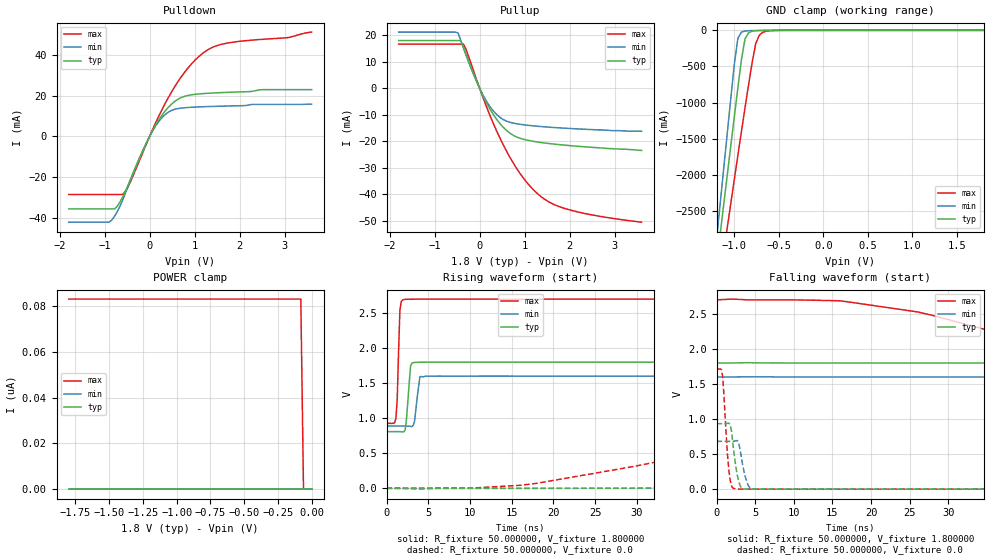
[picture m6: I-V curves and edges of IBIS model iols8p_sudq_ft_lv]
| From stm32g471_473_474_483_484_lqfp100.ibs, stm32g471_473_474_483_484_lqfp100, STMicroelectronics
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|   Model iols8p_sudq_ft_lv
[Model]  iols8p_sudq_ft_lv
Model_type I/O
Polarity   Non-Inverting
Enable   Active-Low
Vinl =   0.540000V
Vinh =   1.260000V
Vmeas =  0.900000V
Cref =   50.000000pF
Rref =   100.000000M
Vref =   0.0V
C_comp   1.984800pF   1.899400pF   2.077500pF
[Temperature Range]   25.000000   -40.000000   0.125000k
[Pullup Reference]   1.800000V   1.600000V   2.700000V
[Pulldown Reference]   0.0V   0.0V   0.0V
[POWER Clamp Reference]   1.800000V   1.600000V   2.700000V
[GND Clamp Reference]   0.0V   0.0V   0.0V
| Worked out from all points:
|   slope of the pulldown table from 0 to 0.27 V, typ, clamps not added: 26.4 ohm
|   slope of the pullup table from 0 to 0.27 V, typ, clamps not added: 30.1 ohm
|   GND clamp passes 1 mA (typ) near -0.61 V on its own axis
|   rising waveform, R_fixture 50.000000, V_fixture 1.800000: 20-80 % time 379ps typ, 422ps min, 266ps max; typ from 0.809 V to 1.8 V
|   rising waveform, R_fixture 50.000000, V_fixture 0.0: 20-80 % time 67.1ns typ, 74.1ns min, 45.1ns max; typ from 0 V to 0.934 V
|   falling waveform, R_fixture 50.000000, V_fixture 1.800000: 20-80 % time 72.9ns typ, 82.7ns min, 36.9ns max; typ from 1.8 V to 0.809 V
|   falling waveform, R_fixture 50.000000, V_fixture 0.0: 20-80 % time 693ps typ, 759ps min, 596ps max; typ from 0.934 V to 0 V
[Pulldown]
|Voltage   I(typ)   I(min)   I(max)
-1.8V     -35.64mA   -42.15mA   -28.59mA
-900mV    -35.64mA   -42.15mA   -28.59mA
-780mV    -35.64mA   -39.2mA    -28.59mA
-600mV    -29.83mA   -31.3mA    -28.52mA
-420mV    -20.8mA    -21.07mA   -21.98mA
60mV      2.604mA    2.459mA    3.062mA
240mV     9.303mA    8.31mA     11.61mA
480mV     15.67mA    12.64mA    21.52mA
720mV     19.18mA    13.9mA     29.74mA
960mV     20.46mA    14.3mA     36.27mA
1.44V     21.29mA    14.7mA     44.06mA
3.6V      22.91mA    15.79mA    51.15mA
[Pullup]
|Voltage   I(typ)   I(min)   I(max)
-1.8V     18.05mA    21.25mA    16.71mA
-540mV    18.05mA    21.25mA    16.71mA
-480mV    18.05mA    20.95mA    16.71mA
-420mV    18.05mA    18.11mA    16.71mA
-360mV    15.57mA    15.21mA    16.71mA
60mV      -2.268mA   -2.095mA   -2.822mA
360mV     -11.31mA   -9.605mA   -15.45mA
600mV     -15.96mA   -12.42mA   -23.82mA
840mV     -18.52mA   -13.44mA   -30.72mA
1.38V     -20.52mA   -14.48mA   -41.14mA
2.1V      -21.8mA    -15.27mA   -46.39mA
3.6V      -23.5mA    -16.2mA    -50.6mA
[GND_clamp]
|Voltage   I(typ)   I(min)   I(max)
-1.8V     -9.477A    -9.805A    -9.016A
-1.2V     -3.243A    -2.9A      -3.759A
-1.16V    -2.83A     -2.409A    -3.417A
-1.12V    -2.418A    -1.919A    -3.076A
-1.08V    -2.008A    -1.431A    -2.736A
-1V       -1.194A    -466mA     -2.061A
-960mV    -792.8mA   -108.7mA   -1.727A
-920mV    -402mA     -24.35mA   -1.396A
-880mV    -117.8mA   -9.188mA   -1.071A
-760mV    -5.896mA   -2.88mA    -183.8mA
-680mV    -2.395mA   -1.099mA   -26.61mA
1.8V      0A         0A         0A
[POWER_clamp]
|Voltage   I(typ)   I(min)   I(max)
-1.8V     0A         0A         83.17nA
-80mV     0A         0A         83.17nA
-60mV     0A         0A         0A
0V        0A         0A         0A
[Ramp]
| variable   typ   min   max
dV/dt_r  0.56086/67.04984n   0.40932/74.04359n   1.02762/44.92249n
dV/dt_f  0.59461/72.85692n   0.42627/82.62088n   1.06394/36.88396n
R_load = 50.000000
[Rising Waveform]
R_fixture= 50.000000
V_fixture= 1.800000
V_fixture_min= 1.600000
V_fixture_max= 2.700000
|time   V(typ)   V(min)   V(max)
0s        808.7mV    889.5mV    926.8mV
1.121ns   808.8mV    889.6mV    991.8mV
1.281ns   808.8mV    889.6mV    1.268V
1.602ns   808mV      889.6mV    2.538V
2.082ns   806.2mV    889.7mV    2.693V
2.402ns   999.8mV    888.3mV    2.696V
2.883ns   1.747V     883.6mV    2.698V
3.363ns   1.795V     960.1mV    2.699V
4.164ns   1.799V     1.595V     2.699V
79.76ns   1.8V       1.6V       2.7V
[Rising Waveform]
R_fixture= 50.000000
V_fixture= 0.0
V_fixture_min= 0.0
V_fixture_max= 0.0
|time   V(typ)   V(min)   V(max)
0s        2.099nV    1.863nV    180.8nV
18.02ns   -344.9uV   -50.23uV   71.46mV
32.03ns   3.827mV    -26.67uV   368.8mV
62.06ns   205.1mV    72.71mV    1.127V
78.08ns   362.7mV    142.1mV    1.401V
92.09ns   500.7mV    242.9mV    1.535V
116.1ns   689mV      408.4mV    1.638V
172.2ns   870.2mV    626.6mV    1.697V
238.2ns   928.6mV    674.2mV    1.712V
997ns     934.4mV    682.2mV    1.713V
[Falling Waveform]
R_fixture= 50.000000
V_fixture= 1.800000
V_fixture_min= 1.600000
V_fixture_max= 2.700000
|time   V(typ)   V(min)   V(max)
0s        1.8V       1.6V       2.7V
16.02ns   1.8V       1.6V       2.687V
26.03ns   1.8V       1.6V       2.528V
58.06ns   1.777V     1.6V       1.538V
72.07ns   1.677V     1.6V       1.234V
112.1ns   1.336V     1.547V     1.007V
162.2ns   969.6mV    1.274V     951.1mV
214.2ns   865.1mV    1.024V     935mV
298.3ns   821.2mV    920mV      926.9mV
997ns     808.7mV    889.5mV    926.8mV
[Falling Waveform]
R_fixture= 50.000000
V_fixture= 0.0
V_fixture_min= 0.0
V_fixture_max= 0.0
|time   V(typ)   V(min)   V(max)
0s        934.4mV    682.2mV    1.713V
800.8ps   934.3mV    682.2mV    1.599V
1.602ns   940.7mV    682.1mV    263.3mV
1.922ns   838.1mV    681.6mV    52.75mV
2.402ns   396.2mV    687.9mV    5.068mV
2.883ns   107.6mV    651.3mV    1.837mV
3.203ns   19.47mV    464.8mV    1.429mV
4.004ns   1.584mV    80.01mV    890.5uV
4.645ns   756uV      3.442mV    688.9uV
79.76ns   2.099nV    1.863nV    180.8nV
